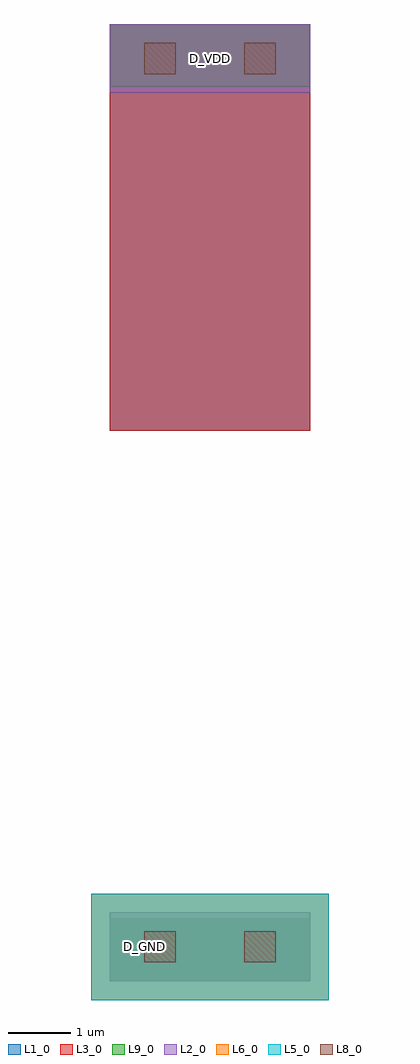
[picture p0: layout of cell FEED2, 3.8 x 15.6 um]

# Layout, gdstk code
import gdstk
lib = gdstk.Library(unit=1e-6, precision=1e-09)
def R(c, l, rs):  # rectangles x0, y0, x1, y1
    for r in rs: c.add(gdstk.rectangle(r[:2], r[2:], *l))
L1_0 = (1, 0)
L2_0 = (2, 0)
L3_0 = (3, 0)
L5_0 = (5, 0)
L6_0 = (6, 0)
L8_0 = (8, 0)
L9_0 = (9, 0)

feed2 = lib.new_cell('FEED2')
R(feed2, L1_0, [(0,8.8,1.6,15.3), (1.6,8.8,3.2,15.3)])
R(feed2, L2_0, [(0,0,1.6,1.1), (1.6,0,3.2,1.1), (0,14.2,1.6,15.3), (1.6,14.2,3.2,15.3)])
R(feed2, L3_0, [(0,8.8,1.6,15.3), (1.6,8.8,3.2,15.3)])
R(feed2, L5_0, [(-0.3,-0.3,1.6,1.4), (1.6,-0.3,3.5,1.4)])
R(feed2, L6_0, [(-0.3,-0.3,1.6,1.4), (1.6,-0.3,3.5,1.4)])
R(feed2, L8_0, [(0.55,0.3,1.05,0.8), (2.15,0.3,2.65,0.8), (0.55,14.5,1.05,15), (2.15,14.5,2.65,15)])
R(feed2, L9_0, [(0,0,1.6,1), (1.6,0,3.2,1), (0.1,0.1,1,1), (0,14.3,1.6,15.3), (1.15,14.3,2.05,15.2), (1.6,14.3,3.2,15.3)])
feed2.add(gdstk.Label('D_GND', (0.55,0.55), layer=50, texttype=0))
feed2.add(gdstk.Label('D_VDD', (1.6,14.75), layer=50, texttype=0))

lib.write_gds('FEED2.gds')
